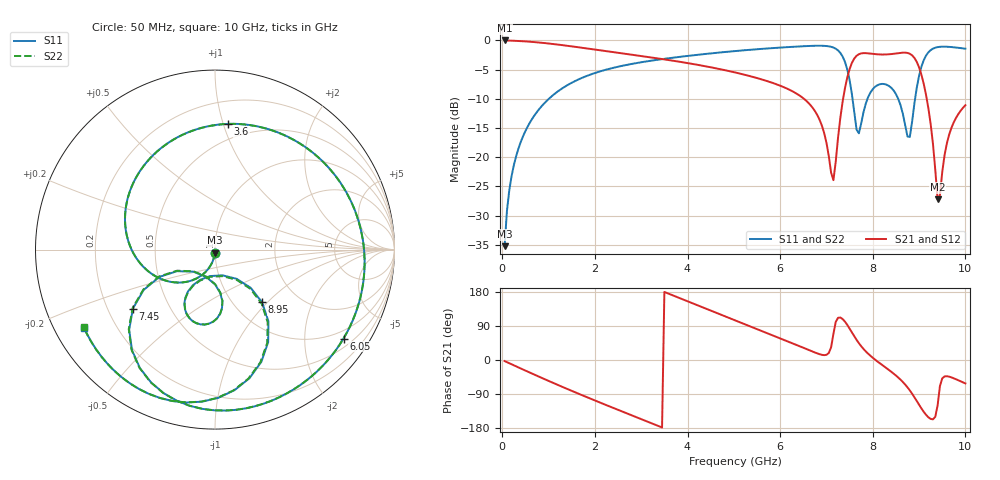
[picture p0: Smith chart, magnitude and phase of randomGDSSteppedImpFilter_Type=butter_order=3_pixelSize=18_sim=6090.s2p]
! freq	dB(S11)	phase(S11)	dB(S12)	phase(S12)
!  dB(S21)	phase(S21)	dB(S22)	phase(S22)
!S-par simulation data
#  GHz  S  DB  R 50
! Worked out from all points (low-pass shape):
!   200 points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, 50 MHz to 10 GHz, reference 50 ohm
!   highest |S21| = 0.00 dB at 50 MHz (marker M1); lowest = -27.2 dB at 9.4 GHz (marker M2)
!   |S21| within 3 dB of the highest: start of sweep to 3.292 GHz; 7.61 GHz to 8.9 GHz (1.29 GHz wide, 15.6 % of centre)
!   lowest |S11| = -35.3 dB at 50 MHz (marker M3), VSWR 1.04, Z = 49.9 - j1.72 ohm
!   |S11| at or under -10 dB: start of sweep to 1.006 GHz; 7.563 GHz to 7.886 GHz (323.9 MHz wide, 4.19 % of centre); 8.55 GHz to 8.914 GHz (364.1 MHz wide, 4.17 % of centre)
!   |S22| runs from -35.3 to -0.9 dB; largest |S21 - S12| = 0
!   S11 on the Smith chart (normalised r, x): 50 MHz: 1.00, -0.03; 3.6 GHz: 0.37, +1.04; 6.05 GHz: 0.74, -3.04; 7.45 GHz: 0.31, -0.29; 8.95 GHz: 1.34, -0.93; 10 GHz: 0.09, -0.27
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0.05  -35.25 -92.8  -0.00 -2.8  -0.00 -2.8  -35.25 -92.8
0.2  -23.26 -101.6  -0.04 -11.3  -0.04 -11.3  -23.26 -101.6
0.5  -15.51 -118.6  -0.17 -28.0  -0.17 -28.0  -15.51 -118.6
1.1  -9.35 -151.2  -0.62 -60.6  -0.62 -60.6  -9.35 -151.2
1.75  -6.32 175.1  -1.29 -94.2  -1.29 -94.2  -6.32 175.0
2.6  -4.33 132.8  -2.23 -136.5  -2.23 -136.5  -4.33 132.6
3.4  -3.26 93.8  -3.13 -175.6  -3.13 -175.6  -3.26 93.6
3.6  -3.04 84.0  -3.37 174.6  -3.37 174.6  -3.05 83.8
5.05  -1.80 13.6  -5.53 103.7  -5.53 103.7  -1.81 13.4
6.05  -1.20 -34.7  -7.91 55.0  -7.91 55.0  -1.20 -34.9
6.7  -0.93 -69.3  -11.52 22.3  -11.52 22.3  -0.93 -69.6
7.15  -1.22 -104.1  -23.95 68.6  -23.95 68.6  -1.22 -104.4
7.45  -4.99 -144.3  -6.33 92.6  -6.33 92.6  -5.00 -144.7
7.7  -15.91 -107.9  -2.36 44.4  -2.36 44.4  -16.02 -107.7
7.95  -8.92 -85.4  -2.25 11.0  -2.25 11.0  -8.92 -85.3
8.35  -7.81 -110.6  -2.37 -26.4  -2.37 -26.4  -7.80 -110.4
8.8  -16.53 -73.8  -2.29 -80.3  -2.29 -80.3  -16.27 -74.3
8.95  -8.09 -48.2  -3.68 -108.2  -3.68 -108.2  -8.05 -49.1
9.2  -2.04 -82.1  -11.59 -151.1  -11.59 -151.1  -2.03 -82.6
9.4  -1.15 -105.5  -27.21 -119.8  -27.21 -119.8  -1.14 -105.9
9.65  -1.10 -126.5  -16.12 -44.0  -16.12 -44.0  -1.10 -126.8
10  -1.42 -149.2  -11.10 -61.9  -11.10 -61.9  -1.41 -149.4
